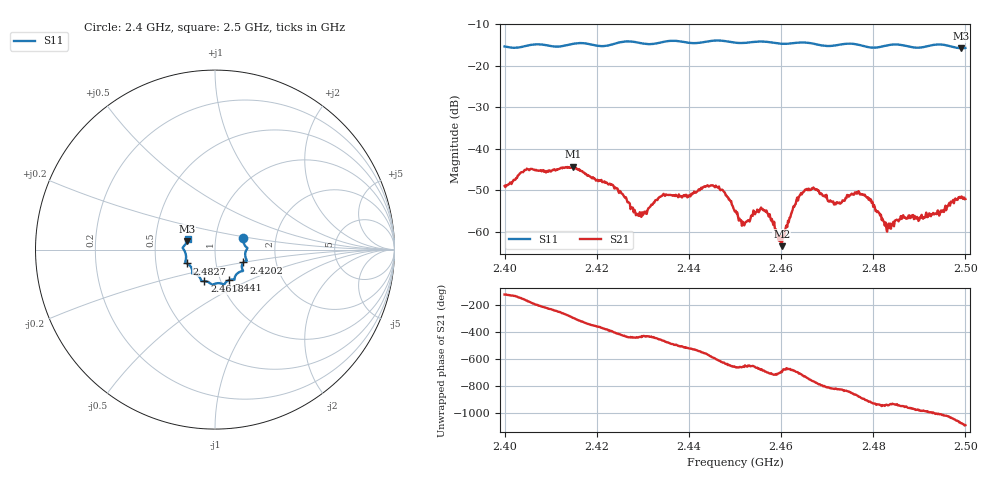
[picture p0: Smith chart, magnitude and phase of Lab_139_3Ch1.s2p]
# Hz S RI R 50
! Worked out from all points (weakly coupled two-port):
!   601 points, 2.4 GHz to 2.5 GHz, reference 50 ohm
!   highest |S21| = -44.33 dB at 2.4148 GHz (marker M1); lowest = -63.5 dB at 2.4602 GHz (marker M2)
!   lowest |S11| = -15.8 dB at 2.499 GHz (marker M3), VSWR 1.39, Z = 36.4 + j3.48 ohm
!   |S11| at or under -10 dB: start of sweep to end of sweep
!   S12 and S22 are empty: the file has one direction only
!   S11 on the Smith chart (normalised r, x): 2.4 GHz: 1.36, +0.18; 2.4202 GHz: 1.36, -0.20; 2.441 GHz: 1.10, -0.39; 2.4618 GHz: 0.84, -0.30; 2.4827 GHz: 0.72, -0.12; 2.5 GHz: 0.73, +0.09
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2.4e9  0.1585 0.0629  -0.00206 -0.00289  0 0  0 0
2.404667e9  0.1727 0.0156  -0.00546 -0.0011  0 0  0 0
2.414833e9  0.175 -0.055  0.00292 0.00533  0 0  0 0
2.416667e9  0.1771 -0.0612  0.00443 0.00302  0 0  0 0
2.420167e9  0.1586 -0.0713  0.00422 -0.000223  0 0  0 0
2.429167e9  0.1443 -0.1216  0.000275 -0.00152  0 0  0 0
2.433333e9  0.1115 -0.1508  -0.000233 -0.00252  0 0  0 0
2.441e9  0.0787 -0.1698  -0.00288 -0.000416  0 0  0 0
2.446e9  0.05 -0.195  -0.0014 0.00318  0 0  0 0
2.45e9  0.0286 -0.1876  0.000882 0.0015  0 0  0 0
2.452e9  0.00819 -0.1881  0.000633 0.00101  0 0  0 0
2.456333e9  -0.0173 -0.1946  0.00158 0.000914  0 0  0 0
2.460167e9  -0.0426 -0.1788  0.00063 0.000224  0 0  0 0
2.461833e9  -0.059 -0.1755  0.00109 0.000986  0 0  0 0
2.463833e9  -0.0727 -0.1754  0.00256 0.000429  0 0  0 0
2.466667e9  -0.0788 -0.1684  0.0024 -0.00231  0 0  0 0
2.472e9  -0.1133 -0.1354  -0.000537 -0.00219  0 0  0 0
2.477833e9  -0.1271 -0.1171  -0.0028 -0.000147  0 0  0 0
2.482667e9  -0.156 -0.0773  -0.000942 0.000887  0 0  0 0
2.483333e9  -0.1604 -0.0752  -0.000868 0.0009  0 0  0 0
2.499e9  -0.1553 0.0465  0.00254 8.44e-05  0 0  0 0
2.5e9  -0.1521 0.0606  0.0024 -0.000582  0 0  0 0
